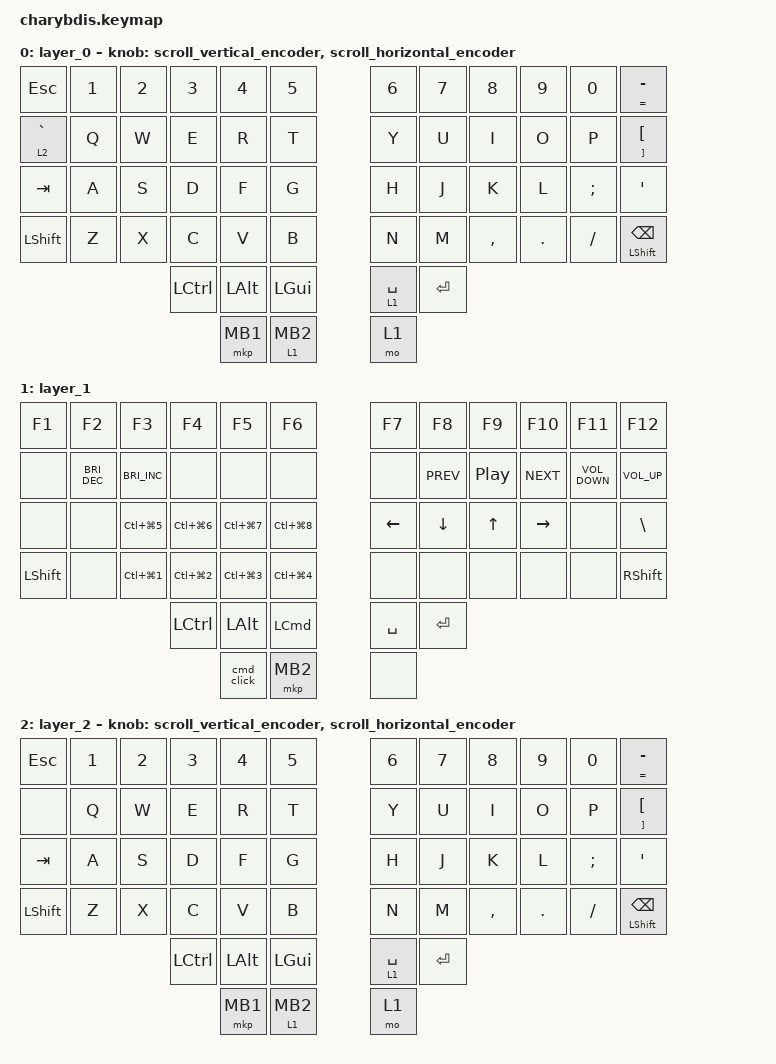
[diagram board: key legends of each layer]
#include <dt-bindings/zmk/mouse.h>
#include <input/processors.dtsi>
#include <zephyr/dt-bindings/input/input-event-codes.h>
#include <behaviors.dtsi>
#include <dt-bindings/zmk/keys.h>
#include <dt-bindings/zmk/pointing.h>
#include <dt-bindings/zmk/rgb.h>

#define ZMK_POINTING_DEFAULT_MOVE_VAL 1000 // 600
#define ZMK_POINTING_DEFAULT_SCRL_VAL 12   // 10

&lt {
    tapping-term-ms = <200>;
    flavor = "balanced";
    quick-tap-ms = <0>;
    require-prior-idle-ms = <0>;
    hold-trigger-key-positions = <30 31 32 33 50 49 48 53 54 36>;
};

&mmv_input_listener { input-processors = <&zip_xy_scaler 2 1>; };

&msc_input_listener { input-processors = <&zip_scroll_scaler 2 1>; };

&msc {
    acceleration-exponent = <0>;      // 0
    time-to-max-speed-ms = <50>;       // 300
    delay-ms = <0>;                   // 0
};

&mmv {
    time-to-max-speed-ms = <500>;
    acceleration-exponent = <1>;
    trigger-period-ms = <16>;
};

/ {
    // 上下滚动编码器行为

    scroll_vertical_encoder: scroll_vertical_encoder {
        compatible = "zmk,behavior-sensor-rotate";
        #sensor-binding-cells = <0>;
        bindings = <&msc SCRL_DOWN>, <&msc SCRL_UP>;

        tap-ms = <100>;
    };

    // 左右滚动编码器行为

    scroll_horizontal_encoder: scroll_horizontal_encoder {
        compatible = "zmk,behavior-sensor-rotate";
        #sensor-binding-cells = <0>;
        bindings = <&msc SCRL_LEFT>, <&msc SCRL_RIGHT>;

        tap-ms = <100>;
    };

    backspace_shift: backspace_shift {
        compatible = "zmk,behavior-hold-tap";
        label = "BACKSPACE_SHIFT";
        bindings = <&kp>, <&kp>;

        #binding-cells = <2>;
        flavor = "hold-preferred";
        tapping-term-ms = <200>;
        quick-tap-ms = <200>;
    };

    layer_tap_mouse: layer_tap_mouse {
        compatible = "zmk,behavior-hold-tap";
        label = "LAYER_TAP_MOUSE";
        bindings = <&mo>, <&mkp>;

        #binding-cells = <2>;
        flavor = "balanced";
        tapping-term-ms = <160>;
        quick-tap-ms = <150>;
    };

    hold_tap_brackets: hold_tap_brackets {
        compatible = "zmk,behavior-hold-tap";
        label = "HOLD_TAP_BRACKETS";
        bindings = <&kp>, <&kp>;

        #binding-cells = <2>;
        flavor = "tap-preferred";
        tapping-term-ms = <200>;
    };

    minus_underscore: minus_underscore {
        compatible = "zmk,behavior-hold-tap";
        label = "MINUS_UNDERSCORE";
        bindings = <&kp>, <&kp>;

        #binding-cells = <2>;
        flavor = "tap-preferred";
        tapping-term-ms = <200>;
    };

    behaviors {
    };

    macros {
        To1_macro: To1_macro {
            compatible = "zmk,behavior-macro";
            label = "To1_macro";
            #binding-cells = <0>;
            bindings = <&rgb_ug RGB_EFF &rgb_ug RGB_COLOR_HSB(128,100,50) &to 1>;
        };

        To1_macro_A: To1_macro_A {
            compatible = "zmk,behavior-macro";
            label = "To1_macro_A";
            #binding-cells = <0>;
            bindings = <&rgb_ug RGB_COLOR_HSB(128,100,50) &to 1>;
        };

        To0_macro: To0_macro {
            compatible = "zmk,behavior-macro";
            label = "To0_macro";
            #binding-cells = <0>;
            bindings = <&rgb_ug RGB_EFR &to 0>;
        };

        To2_macro_A: To2_macro_A {
            compatible = "zmk,behavior-macro";
            label = "To2_macro_A";
            #binding-cells = <0>;
            bindings = <&rgb_ug RGB_COLOR_HSB(250,100,50) &to 0>;
        };

        To2_macro: To2_macro {
            compatible = "zmk,behavior-macro";
            label = "To2_macro";
            #binding-cells = <0>;
            bindings = <&rgb_ug RGB_EFF &rgb_ug RGB_COLOR_HSB(250,100,50) &to 0>;
        };

        cmd_click: cmd_click {
            compatible = "zmk,behavior-macro";
            #binding-cells = <0>;
            bindings =
                <&macro_press>,
                <&kp LGUI>,
                <&macro_tap>,
                <&mkp LCLK>,
                <&macro_release>,
                <&kp LGUI>;

            label = "CMD_CLICK";
        };
    };

    keymap {
        compatible = "zmk,keymap";

        layer_0 {
            bindings = <
&kp ESC         &kp N1  &kp N2  &kp N3     &kp N4        &kp N5                    &kp N6       &kp N7     &kp N8     &kp N9      &kp N0    &minus_underscore EQUAL MINUS
&lt 2 GRAVE     &kp Q   &kp W   &kp E      &kp R         &kp T                     &kp Y        &kp U      &kp I      &kp O       &kp P     &hold_tap_brackets RIGHT_BRACKET LEFT_BRACKET
&kp TAB         &kp A   &kp S   &kp D      &kp F         &kp G                     &kp H        &kp J      &kp K      &kp L       &kp SEMI  &kp SQT
&kp LEFT_SHIFT  &kp Z   &kp X   &kp C      &kp V         &kp B                     &kp N        &kp M      &kp COMMA  &kp PERIOD  &kp FSLH  &backspace_shift LSHIFT BACKSPACE
                                &kp LCTRL  &kp LEFT_ALT  &kp LGUI                  &lt 1 SPACE  &kp ENTER
                                           &mkp MB1      &layer_tap_mouse 1 MB2    &mo 1
            >;

            sensor-bindings =
                <&scroll_vertical_encoder>,
                <&scroll_horizontal_encoder>;
        };

        layer_1 {
            bindings = <
&kp F1          &kp F2                &kp F3                &kp F4                &kp F5                &kp F6                  &kp F7          &kp F8      &kp F9            &kp F10     &kp F11            &kp F12
&none           &kp C_BRIGHTNESS_DEC  &kp C_BRIGHTNESS_INC  &none                 &none                 &none                   &none           &kp C_PREV  &kp C_PLAY_PAUSE  &kp C_NEXT  &kp C_VOLUME_DOWN  &kp C_VOLUME_UP
&none           &none                 &kp LC(LG(N5))        &kp LC(LG(NUMBER_6))  &kp LC(LG(N7))        &kp LC(LG(NUMBER_8))    &kp LEFT_ARROW  &kp DOWN    &kp UP_ARROW      &kp RIGHT   &none              &kp BACKSLASH
&kp LEFT_SHIFT  &none                 &kp LC(LG(NUMBER_1))  &kp LC(LG(NUMBER_2))  &kp LC(LG(NUMBER_3))  &kp LC(LG(NUMBER_4))    &none           &none       &none             &none       &none              &kp RIGHT_SHIFT
                                                            &kp LEFT_CONTROL      &kp LEFT_ALT          &kp LEFT_COMMAND        &kp SPACE       &kp ENTER
                                                                                  &cmd_click            &mkp MB2                &none
            >;
        };

        layer_2 {
            bindings = <
&kp ESC         &kp N1  &kp N2  &kp N3     &kp N4        &kp N5                    &kp N6       &kp N7     &kp N8     &kp N9      &kp N0    &minus_underscore EQUAL MINUS
&none           &kp Q   &kp W   &kp E      &kp R         &kp T                     &kp Y        &kp U      &kp I      &kp O       &kp P     &hold_tap_brackets RIGHT_BRACKET LEFT_BRACKET
&kp TAB         &kp A   &kp S   &kp D      &kp F         &kp G                     &kp H        &kp J      &kp K      &kp L       &kp SEMI  &kp SQT
&kp LEFT_SHIFT  &kp Z   &kp X   &kp C      &kp V         &kp B                     &kp N        &kp M      &kp COMMA  &kp PERIOD  &kp FSLH  &backspace_shift LSHIFT BACKSPACE
                                &kp LCTRL  &kp LEFT_ALT  &kp LGUI                  &lt 1 SPACE  &kp ENTER
                                           &mkp MB1      &layer_tap_mouse 1 MB2    &mo 1
            >;

            sensor-bindings =
                <&scroll_vertical_encoder>,
                <&scroll_horizontal_encoder>;
        };

        /* layer_2 {
            bindings = <
&none  &none   &none    &none   &none         &none         &kp N1         &none         &none     &none  &none   &to 0
&none  &none   &none    &none   &none         &none         &none         &none          &rgb_ug RGB_BRD &rgb_ug RGB_BRI  &rgb_ug RGB_EFF   &rgb_ug RGB_TOG
&none  &none   &none    &none   &none         &none         &none         &mkp LCLK     &mkp RCLK  &none  &none   &none
&none  &none   &none    &none   &bt BT_NXT  &bt BT_CLR    &none         &none         &none     &none  &none   &none
                                   &none         &none         &none         &none         &none
                                                 &none         &none         &none
            >;
       
            
        };

       Mouse {
            bindings = <
&none        &none         &none         &none         &none      &none         &none       &none      &none         &none         &none         &none
&none        &bt BT_SEL 0  &bt BT_SEL 1  &bt BT_SEL 3  &none      &bt BT_CLR    &bt BT_CLR  &none      &bt BT_SEL 2  &bt BT_SEL 1  &bt BT_SEL 0  &none
&none        &trans        &trans        &mkp MCLK     &trans     &none         &none       &trans     &mkp MCLK     &trans        &trans        &none
&bootloader  &trans        &mkp RCLK     &mo 4         &mkp LCLK  &mo 5         &mo 5       &mkp LCLK  &mo 4         &mkp RCLK     &trans        &bootloader
                                         &mo 5         &mkp LCLK  &mkp RCLK     &mkp RCLK   &mkp LCLK
                                                       &none      &trans        &trans
            >;

            
        };

        layer_4 {
            bindings = <
&trans  &trans  &trans     &trans     &trans     &trans       &trans     &trans     &trans     &trans     &trans  &trans
&trans  &trans  &trans     &trans     &trans     &trans       &trans     &trans     &trans     &trans     &trans  &trans
&trans  &trans  &trans     &mkp MCLK  &trans     &trans       &trans     &trans     &mkp MCLK  &trans     &trans  &trans
&trans  &trans  &mkp RCLK  &trans     &mkp LCLK  &trans       &trans     &mkp LCLK  &trans     &mkp RCLK  &trans  &trans
                           &trans     &mkp LCLK  &mkp RCLK    &mkp RCLK  &mkp LCLK
                                      &trans     &trans       &trans
            >;
                
                
               
        };

        layer_5 {
            bindings = <
&trans  &trans  &trans     &trans     &trans     &trans       &trans     &trans     &trans     &trans     &trans  &trans
&trans  &trans  &trans     &trans     &trans     &trans       &trans     &trans     &trans     &trans     &trans  &trans
&trans  &trans  &trans     &mkp MCLK  &trans     &trans       &trans     &trans     &mkp MCLK  &trans     &trans  &trans
&trans  &trans  &mkp RCLK  &trans     &mkp LCLK  &trans       &trans     &mkp LCLK  &trans     &mkp RCLK  &trans  &trans
                           &trans     &mkp LCLK  &mkp RCLK    &mkp RCLK  &mkp LCLK
                                      &trans     &trans       &trans
            >;
                
                
        };*/
    };
};
